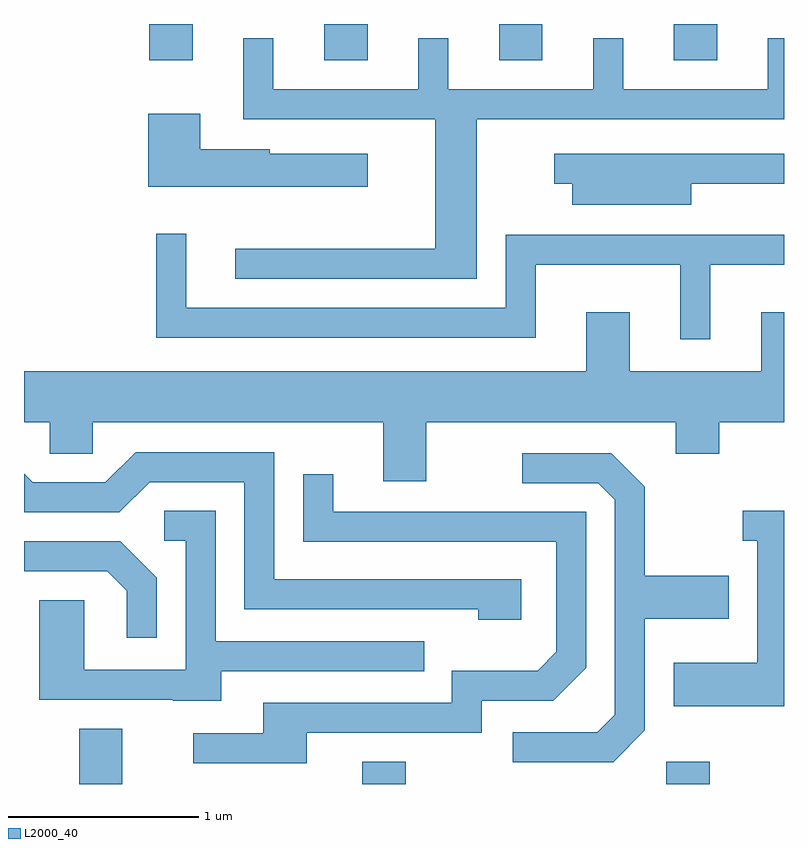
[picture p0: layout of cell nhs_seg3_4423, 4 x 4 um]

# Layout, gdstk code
import gdstk
lib = gdstk.Library(unit=1e-6, precision=1e-09)
def R(c, l, rs):  # rectangles x0, y0, x1, y1
    for r in rs: c.add(gdstk.rectangle(r[:2], r[2:], *l))
def A(c, l, x, y, w, h, nx, ny, dx, dy):  # array of equal rectangles
    R(c, l, [(x+i*dx, y+j*dy, x+i*dx+w, y+j*dy+h) for i in range(nx) for j in range(ny)])
def P(c, l, *ps):  # polygons
    for p in ps: c.add(gdstk.Polygon(p, *l))
L2000_40 = (2000, 40)

nhs_seg3_4423 = lib.new_cell('nhs_seg3_4423')
A(nhs_seg3_4423, L2000_40, 316.271, 1125.701, 0.228, 0.191, 4, 1, 0.92, 0)
R(nhs_seg3_4423, L2000_40, [(315.901,1121.892,316.129,1122.184), (317.391,1121.892,317.619,1122.009), (318.991,1121.892,319.219,1122.009)])
P(nhs_seg3_4423, L2000_40, [(317.994,1125.391),(319.611,1125.391),(319.611,1125.818),(319.526,1125.818),(319.526,1125.549),(318.764,1125.549),(318.764,1125.818),(318.606,1125.818),(318.606,1125.549),(317.844,1125.549),(317.844,1125.818),(317.686,1125.818),(317.686,1125.549),(316.924,1125.549),(316.924,1125.818),(316.766,1125.818),(316.766,1125.391),(317.776,1125.391),(317.776,1124.709),(316.723,1124.709),(316.723,1124.551),(317.994,1124.551)],
  [(317.419,1125.209),(316.904,1125.209),(316.904,1125.234),(316.539,1125.234),(316.539,1125.419),(316.266,1125.419),(316.266,1125.036),(317.419,1125.036)],
  [(319.124,1125.051),(319.611,1125.051),(319.611,1125.209),(318.403,1125.209),(318.403,1125.051),(318.496,1125.051),(318.496,1124.941),(319.124,1124.941)],
  [(319.224,1124.626),(319.611,1124.626),(319.611,1124.784),(318.146,1124.784),(318.146,1124.399),(316.464,1124.399),(316.464,1124.788),(316.306,1124.788),(316.306,1124.241),(318.304,1124.241),(318.304,1124.626),(319.066,1124.626),(319.066,1124.233),(319.224,1124.233)],
  [(317.729,1123.796),(319.041,1123.796),(319.041,1123.631),(319.269,1123.631),(319.269,1123.796),(319.611,1123.796),(319.611,1124.374),(319.491,1124.374),(319.491,1124.064),(318.799,1124.064),(318.799,1124.374),(318.571,1124.374),(318.571,1124.064),(315.611,1124.064),(315.611,1123.796),(315.746,1123.796),(315.746,1123.631),(315.974,1123.631),(315.974,1123.796),(317.501,1123.796),(317.501,1123.486),(317.729,1123.486)],
  [(318.229,1122.969),(316.929,1122.969),(316.929,1123.639),(316.199,1123.639),(316.039,1123.479),(315.657,1123.479),(315.611,1123.525),(315.611,1123.321),(316.112,1123.321),(316.272,1123.481),(316.771,1123.481),(316.771,1122.811),(318.001,1122.811),(318.001,1122.756),(318.229,1122.756)],
  [(318.718,1122.013),(318.879,1122.174),(318.879,1122.761),(319.319,1122.761),(319.319,1122.989),(318.879,1122.989),(318.879,1123.457),(318.702,1123.634),(318.233,1123.634),(318.233,1123.476),(318.634,1123.476),(318.721,1123.389),(318.721,1122.257),(318.629,1122.164),(318.183,1122.164),(318.183,1122.006),(318.712,1122.006)],
  [(317.099,1122.161),(318.019,1122.161),(318.019,1122.331),(318.397,1122.331),(318.569,1122.504),(318.569,1123.324),(317.239,1123.324),(317.239,1123.523),(317.081,1123.523),(317.081,1123.166),(318.411,1123.166),(318.411,1122.587),(318.314,1122.489),(317.861,1122.489),(317.861,1122.319),(316.871,1122.319),(316.871,1122.159),(316.503,1122.159),(316.503,1122.001),(317.099,1122.001)],
  [(319.611,1123.329),(319.393,1123.329),(319.393,1123.171),(319.471,1123.171),(319.471,1122.529),(319.031,1122.529),(319.031,1122.301),(319.611,1122.301)],
  [(316.649,1122.486),(317.718,1122.486),(317.718,1122.644),(316.619,1122.644),(316.619,1123.329),(316.348,1123.329),(316.348,1123.171),(316.461,1123.171),(316.461,1122.494),(315.929,1122.494),(315.929,1122.859),(315.691,1122.859),(315.691,1122.336),(316.395,1122.336),(316.395,1122.331),(316.649,1122.331)],
  [(316.309,1122.977),(316.117,1123.169),(315.611,1123.169),(315.611,1123.011),(316.049,1123.011),(316.151,1122.909),(316.151,1122.663),(316.309,1122.663)])

lib.write_gds('nhs_seg3_4423.gds')
